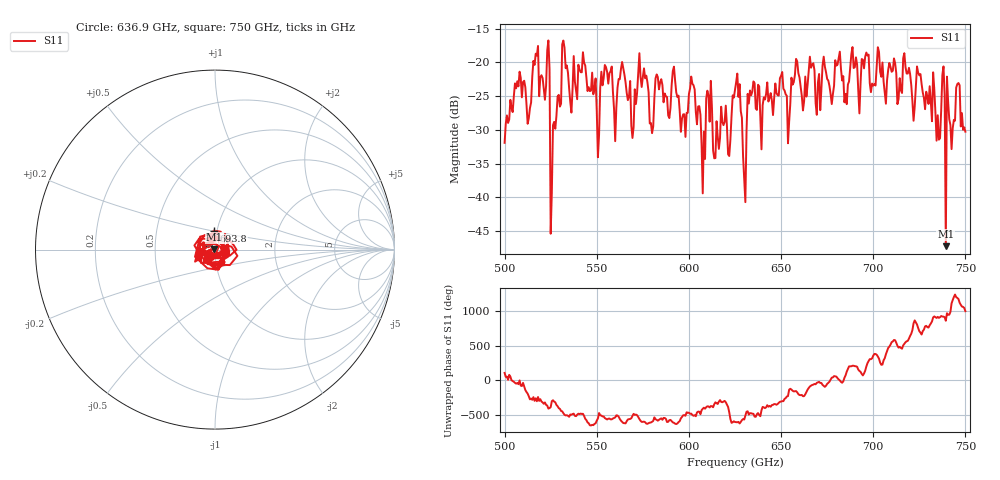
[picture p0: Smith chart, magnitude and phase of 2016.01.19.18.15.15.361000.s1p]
!Created with skrf (http://scikit-rf.org).
# GHz S RI R 50.0
!freq ReS11 ImS11
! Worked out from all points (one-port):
!   401 points, 500 GHz to 750 GHz, reference 50 ohm
!   lowest |S11| = -47.2 dB at 739.4 GHz (marker M1), VSWR 1.01, Z = 49.7 + j0.27 ohm
!   |S11| at or under -10 dB: start of sweep to end of sweep
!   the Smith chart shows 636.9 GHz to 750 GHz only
!   S11 on the Smith chart (normalised r, x): 636.9 GHz: 0.94, -0.07; 693.8 GHz: 0.96, +0.21; 750 GHz: 1.01, -0.06
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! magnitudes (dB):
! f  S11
! 500 GHz  -31.9
! 507.5 GHz  -23.6
! 513.1 GHz  -28.3
! 516.9 GHz  -18.7
! 523.1 GHz  -18.2
! 526.2 GHz  -29.3
! 531.2 GHz  -17.3
! 550 GHz  -27.3
! 562.5 GHz  -22.5
! 570 GHz  -29.6
! 574.4 GHz  -23.6
! 580 GHz  -30.5
! 583.1 GHz  -22.2
! 593.8 GHz  -25.1
! 601.9 GHz  -23.2
! 607.5 GHz  -39.4
! 610.6 GHz  -24.9
! 615 GHz  -28.7
! 625 GHz  -24.1
! 630 GHz  -37.2
! 633.1 GHz  -24.2
! 636.9 GHz  -27.0
! 656.2 GHz  -23.3
! 687.5 GHz  -20.8
! 693.8 GHz  -19.5
! 718.8 GHz  -21.7
! 739.4 GHz  -47.2
! 750 GHz  -30.3
